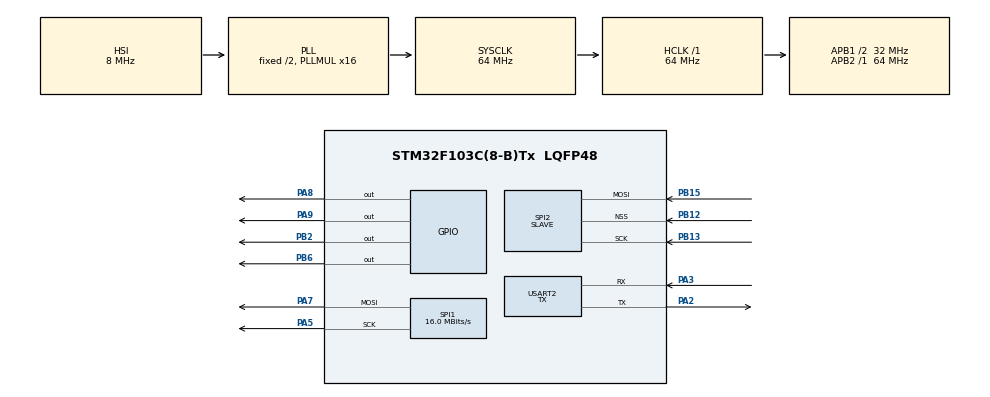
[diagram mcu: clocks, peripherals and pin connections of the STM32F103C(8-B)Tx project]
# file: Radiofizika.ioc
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IWDG.Prescaler=IWDG_PRESCALER_16
Mcu.Family=STM32F1
Mcu.Name=STM32F103C(8-B)Tx
Mcu.Package=LQFP48
NVIC.PriorityGroup=NVIC_PRIORITYGROUP_4
NVIC.SPI2_IRQn=true\:0\:0\:false\:false\:true\:true\:true\:true
PA13.Mode=Serial_Wire
PA13.Signal=SYS_JTMS-SWDIO
PA14.Mode=Serial_Wire
PA14.Signal=SYS_JTCK-SWCLK
PA2.Mode=Asynchronous
PA2.Signal=USART2_TX
PA3.Mode=Asynchronous
PA3.Signal=USART2_RX
PA5.Mode=TX_Only_Simplex_Unidirect_Master
PA5.Signal=SPI1_SCK
PA7.Mode=TX_Only_Simplex_Unidirect_Master
PA7.Signal=SPI1_MOSI
PA8.Signal=GPIO_Output
PA9.Signal=GPIO_Output
PB12.Mode=NSS_Signal_Hard_Input
PB12.Signal=SPI2_NSS
PB13.Mode=RX_Only_Simplex_Unidirect_Slave
PB13.Signal=SPI2_SCK
PB15.Mode=RX_Only_Simplex_Unidirect_Slave
PB15.Signal=SPI2_MOSI
PB2.Signal=GPIO_Output
PB6.Signal=GPIO_Output
ProjectManager.HeapSize=0x200
ProjectManager.StackSize=0x400
ProjectManager.TargetToolchain=STM32CubeIDE
RCC.AHBFreq_Value=64000000
RCC.APB1CLKDivider=RCC_HCLK_DIV2
RCC.APB1Freq_Value=32000000
RCC.APB1TimFreq_Value=64000000
RCC.APB2Freq_Value=64000000
RCC.APB2TimFreq_Value=64000000
RCC.HCLKFreq_Value=64000000
RCC.PLLMUL=RCC_PLL_MUL16
RCC.SYSCLKFreq_VALUE=64000000
RCC.SYSCLKSource=RCC_SYSCLKSOURCE_PLLCLK
RCC.USBFreq_Value=64000000
SPI1.BaudRatePrescaler=SPI_BAUDRATEPRESCALER_4
SPI1.CalculateBaudRate=16.0 MBits/s
SPI1.Direction=SPI_DIRECTION_2LINES
SPI1.Mode=SPI_MODE_MASTER
SPI1.VirtualType=VM_MASTER
SPI2.Direction=SPI_DIRECTION_2LINES_RXONLY
SPI2.Mode=SPI_MODE_SLAVE
SPI2.VirtualNSS=VM_NSSHARD
SPI2.VirtualType=VM_SLAVE
USART2.Mode=MODE_TX
USART2.VirtualMode=VM_ASYNC
VP_IWDG_VS_IWDG.Mode=IWDG_Activate
board=custom

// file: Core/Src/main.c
/* USER CODE BEGIN Header */
/**
  ******************************************************************************
  * @file           : main.c
  * @brief          : Main program body
  ******************************************************************************
  * @attention
  *
  * Copyright (c) 2024 STMicroelectronics.
  * All rights reserved.
  *
  * This software is licensed under terms that can be found in the LICENSE file
  * in the root directory of this software component.
  * If no LICENSE file comes with this software, it is provided AS-IS.
  *
  ******************************************************************************
  */
/* USER CODE END Header */
#include "main.h"

/* USER CODE BEGIN Includes */

#include "st7735.h" // Подключаем библиотеку для работу с ЖК-экраном.
// Источник: https://github.com/afiskon/stm32-st7735

/* USER CODE END Includes */

/* USER CODE BEGIN PD */

#define SIZE_OF_STRING_LCD 100 // Размер строки c данными температуры и влажности воздуха для передачи ее на ЖК-экран
#define SIZE_OF_STRING_UART 52// Размер строки c данными температуры и влажности воздуха для передачи ее через UART

/* USER CODE END PD */

IWDG_HandleTypeDef hiwdg;

SPI_HandleTypeDef hspi1;
SPI_HandleTypeDef hspi2;

UART_HandleTypeDef huart2;

/* USER CODE BEGIN PV */

int8_t pData[2]; // Переменная для хранения значений, полученных через SPI от ESP32
// pData[0] - Temperature of air. pData[1] - Humidity of air.

volatile _Bool flag = 0; // Переменная-флажок для синхронизации. Выводим данные на ЖК-экран \
только после получения данных с UART

/* USER CODE END PV */

void SystemClock_Config(void);
static void MX_GPIO_Init(void);
static void MX_SPI1_Init(void);
static void MX_SPI2_Init(void);
static void MX_USART2_UART_Init(void);
static void MX_IWDG_Init(void);

/* USER CODE BEGIN 0 */

void HAL_SPI_RxCpltCallback(SPI_HandleTypeDef *hspi)
{
	HAL_SPI_Receive_IT(&hspi2, pData, sizeof(pData));
	flag = 1;
}

/* USER CODE END 0 */

int main(void)
{

  /* MCU Configuration--------------------------------------------------------*/

  /* Reset of all peripherals, Initializes the Flash interface and the Systick. */
  HAL_Init();

  /* Configure the system clock */
  SystemClock_Config();

  /* Initialize all configured peripherals */
  MX_GPIO_Init();
  MX_SPI1_Init();
  MX_SPI2_Init();
  MX_USART2_UART_Init();
  MX_IWDG_Init();
  /* USER CODE BEGIN 2 */

  ST7735_Init(); // Инициализация ЖК-экрана

  ST7735_FillScreen(ST7735_BLACK); // Обновляем цветовой фон ЖК-экрана

  HAL_SPI_Receive_IT(&hspi2, pData, sizeof(pData));

  /* USER CODE END 2 */

  /* Infinite loop */
  /* USER CODE BEGIN WHILE */
  while (1)
  {

	if (flag)
	{
		// Формируем строку c данными температуры и влажности воздуха для передачи ее на ЖК-экран
		char message[SIZE_OF_STRING_LCD] = { 0, };
		sprintf(message, "Temperature of air = %d C.           Humidity of air    = %d %%.", pData[0], pData[1]);

		ST7735_WriteString(0, 0, message, Font_7x10, ST7735_BLACK, ST7735_WHITE); // Выводим на ЖК-экран строку с данными

		// Формируем строку c данными температуры и влажности воздуха для передачи ее в компьютер через UART2
		char message2[SIZE_OF_STRING_UART] = { 0, };
		sprintf(message2, "Temperature of air = %d C. Humidity of air = %d %%. \n", pData[0], pData[1]);

		HAL_UART_Transmit(&huart2, (uint8_t*) message2, sizeof(message2), 100); // Выводим через UART2 строку с данными

		flag = 0;

		HAL_IWDG_Refresh(&hiwdg); // Обновляем регистр счетчика IWDG
	}

    /* USER CODE END WHILE */

  }
}

void SystemClock_Config(void)
{
  RCC_OscInitTypeDef RCC_OscInitStruct = {0};
  RCC_ClkInitTypeDef RCC_ClkInitStruct = {0};

  /** Initializes the RCC Oscillators according to the specified parameters
  * in the RCC_OscInitTypeDef structure.
  */
  RCC_OscInitStruct.OscillatorType = RCC_OSCILLATORTYPE_HSI|RCC_OSCILLATORTYPE_LSI;
  RCC_OscInitStruct.HSIState = RCC_HSI_ON;
  RCC_OscInitStruct.HSICalibrationValue = RCC_HSICALIBRATION_DEFAULT;
  RCC_OscInitStruct.LSIState = RCC_LSI_ON;
  RCC_OscInitStruct.PLL.PLLState = RCC_PLL_ON;
  RCC_OscInitStruct.PLL.PLLSource = RCC_PLLSOURCE_HSI_DIV2;
  RCC_OscInitStruct.PLL.PLLMUL = RCC_PLL_MUL16;
  if (HAL_RCC_OscConfig(&RCC_OscInitStruct) != HAL_OK)
  {
    Error_Handler();
  }

  /** Initializes the CPU, AHB and APB buses clocks
  */
  RCC_ClkInitStruct.ClockType = RCC_CLOCKTYPE_HCLK|RCC_CLOCKTYPE_SYSCLK
                              |RCC_CLOCKTYPE_PCLK1|RCC_CLOCKTYPE_PCLK2;
  RCC_ClkInitStruct.SYSCLKSource = RCC_SYSCLKSOURCE_PLLCLK;
  RCC_ClkInitStruct.AHBCLKDivider = RCC_SYSCLK_DIV1;
  RCC_ClkInitStruct.APB1CLKDivider = RCC_HCLK_DIV2;
  RCC_ClkInitStruct.APB2CLKDivider = RCC_HCLK_DIV1;

  if (HAL_RCC_ClockConfig(&RCC_ClkInitStruct, FLASH_LATENCY_2) != HAL_OK)
  {
    Error_Handler();
  }
}

static void MX_IWDG_Init(void)
{

  hiwdg.Instance = IWDG;
  hiwdg.Init.Prescaler = IWDG_PRESCALER_16;
  hiwdg.Init.Reload = 4095;
  if (HAL_IWDG_Init(&hiwdg) != HAL_OK)
  {
    Error_Handler();
  }

}

static void MX_SPI1_Init(void)
{

  /* SPI1 parameter configuration*/
  hspi1.Instance = SPI1;
  hspi1.Init.Mode = SPI_MODE_MASTER;
  hspi1.Init.Direction = SPI_DIRECTION_2LINES;
  hspi1.Init.DataSize = SPI_DATASIZE_8BIT;
  hspi1.Init.CLKPolarity = SPI_POLARITY_LOW;
  hspi1.Init.CLKPhase = SPI_PHASE_1EDGE;
  hspi1.Init.NSS = SPI_NSS_SOFT;
  hspi1.Init.BaudRatePrescaler = SPI_BAUDRATEPRESCALER_4;
  hspi1.Init.FirstBit = SPI_FIRSTBIT_MSB;
  hspi1.Init.TIMode = SPI_TIMODE_DISABLE;
  hspi1.Init.CRCCalculation = SPI_CRCCALCULATION_DISABLE;
  hspi1.Init.CRCPolynomial = 10;
  if (HAL_SPI_Init(&hspi1) != HAL_OK)
  {
    Error_Handler();
  }

}

static void MX_SPI2_Init(void)
{

  /* SPI2 parameter configuration*/
  hspi2.Instance = SPI2;
  hspi2.Init.Mode = SPI_MODE_SLAVE;
  hspi2.Init.Direction = SPI_DIRECTION_2LINES_RXONLY;
  hspi2.Init.DataSize = SPI_DATASIZE_8BIT;
  hspi2.Init.CLKPolarity = SPI_POLARITY_LOW;
  hspi2.Init.CLKPhase = SPI_PHASE_1EDGE;
  hspi2.Init.NSS = SPI_NSS_HARD_INPUT;
  hspi2.Init.FirstBit = SPI_FIRSTBIT_MSB;
  hspi2.Init.TIMode = SPI_TIMODE_DISABLE;
  hspi2.Init.CRCCalculation = SPI_CRCCALCULATION_DISABLE;
  hspi2.Init.CRCPolynomial = 10;
  if (HAL_SPI_Init(&hspi2) != HAL_OK)
  {
    Error_Handler();
  }

}

static void MX_USART2_UART_Init(void)
{

  huart2.Instance = USART2;
  huart2.Init.BaudRate = 115200;
  huart2.Init.WordLength = UART_WORDLENGTH_8B;
  huart2.Init.StopBits = UART_STOPBITS_1;
  huart2.Init.Parity = UART_PARITY_NONE;
  huart2.Init.Mode = UART_MODE_TX;
  huart2.Init.HwFlowCtl = UART_HWCONTROL_NONE;
  huart2.Init.OverSampling = UART_OVERSAMPLING_16;
  if (HAL_UART_Init(&huart2) != HAL_OK)
  {
    Error_Handler();
  }

}

static void MX_GPIO_Init(void)
{
  GPIO_InitTypeDef GPIO_InitStruct = {0};

  /* GPIO Ports Clock Enable */
  __HAL_RCC_GPIOA_CLK_ENABLE();
  __HAL_RCC_GPIOB_CLK_ENABLE();

  /*Configure GPIO pin Output Level */
  HAL_GPIO_WritePin(GPIOB, GPIO_PIN_2|GPIO_PIN_6, GPIO_PIN_RESET);

  /*Configure GPIO pin Output Level */
  HAL_GPIO_WritePin(GPIOA, GPIO_PIN_8|GPIO_PIN_9, GPIO_PIN_RESET);

  /*Configure GPIO pins : PB2 PB6 */
  GPIO_InitStruct.Pin = GPIO_PIN_2|GPIO_PIN_6;
  GPIO_InitStruct.Mode = GPIO_MODE_OUTPUT_PP;
  GPIO_InitStruct.Pull = GPIO_NOPULL;
  GPIO_InitStruct.Speed = GPIO_SPEED_FREQ_LOW;
  HAL_GPIO_Init(GPIOB, &GPIO_InitStruct);

  /*Configure GPIO pins : PA8 PA9 */
  GPIO_InitStruct.Pin = GPIO_PIN_8|GPIO_PIN_9;
  GPIO_InitStruct.Mode = GPIO_MODE_OUTPUT_PP;
  GPIO_InitStruct.Pull = GPIO_NOPULL;
  GPIO_InitStruct.Speed = GPIO_SPEED_FREQ_LOW;
  HAL_GPIO_Init(GPIOA, &GPIO_InitStruct);

}

void Error_Handler(void)
{
  __disable_irq();
  while (1)
  {
  }
}
